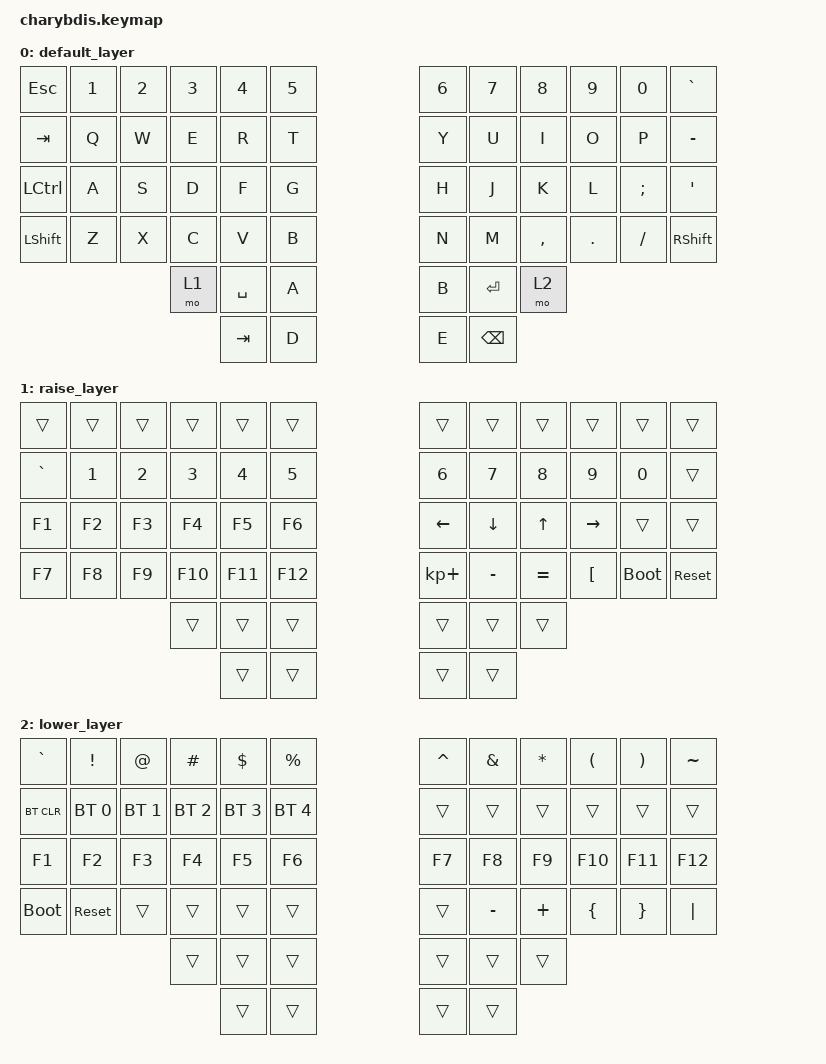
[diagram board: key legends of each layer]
#include <behaviors.dtsi>
#include <dt-bindings/zmk/keys.h>
#include <dt-bindings/zmk/bt.h>
#include <dt-bindings/zmk/ext_power.h>

/ {
    keymap {
        compatible = "zmk,keymap";

        default_layer {
            bindings = <
&kp ESC   &kp N1 &kp N2 &kp N3   &kp N4   &kp N5                     &kp N6 &kp N7   &kp N8    &kp N9  &kp N0   &kp GRAVE
&kp TAB   &kp Q  &kp W  &kp E    &kp R    &kp T                      &kp Y  &kp U    &kp I     &kp O   &kp P    &kp MINUS
&kp LCTRL &kp A  &kp S  &kp D    &kp F    &kp G                      &kp H  &kp J    &kp K     &kp L   &kp SEMI &kp SQT
&kp LSHFT &kp Z  &kp X  &kp C    &kp V    &kp B                      &kp N  &kp M    &kp COMMA &kp DOT &kp FSLH &kp RSHFT
                        &mo 1 &kp SPACE   &kp A                      &kp B  &kp RETURN &mo 2
                              &kp TAB       &kp D                    &kp E  &kp BACKSPACE 
            >;

        };

        raise_layer {
            bindings = <
&trans    &trans &trans &trans  &trans  &trans                       &trans      &trans    &trans    &trans   &trans    &trans
&kp GRAVE &kp N1 &kp N2 &kp N3  &kp N4  &kp N5                       &kp N6      &kp N7    &kp N8    &kp N9   &kp N0    &trans
&kp F1    &kp F2 &kp F3 &kp F4  &kp F5  &kp F6                       &kp LEFT  &kp DOWN  &kp UP   &kp RIGHT &trans      &trans
&kp F7    &kp F8 &kp F9 &kp F10 &kp F11 &kp F12                      &kp KP_PLUS &kp MINUS &kp EQUAL &kp LBKT &bootloader  &sys_reset
                        &trans  &trans  &trans                       &trans      &trans    &trans
                                &trans  &trans                       &trans      &trans        
            >;
        };

        lower_layer {
            bindings = <
&kp GRAVE  &kp EXCL         &kp AT            &kp HASH          &kp DOLLAR   &kp PRCNT                    &kp CARET &kp AMPS  &kp ASTRK &kp LPAR  &kp RPAR  &kp TILDE
&bt BT_CLR &bt BT_SEL 0     &bt BT_SEL 1      &bt BT_SEL 2      &bt BT_SEL 3 &bt BT_SEL 4                 &trans    &trans    &trans    &trans    &trans    &trans
&kp F1     &kp F2           &kp F3            &kp F4            &kp F5       &kp F6                       &kp F7    &kp F8    &kp F9    &kp F10   &kp F11   &kp F12
&bootloader   &sys_reset           &trans            &trans            &trans       &trans                       &trans    &kp MINUS &kp PLUS  &kp LBRC  &kp RBRC  &kp PIPE
                                              &trans            &trans       &trans                       &trans    &trans    &trans
                                                                &trans       &trans                       &trans    &trans          
            >;
        };
    };
};
